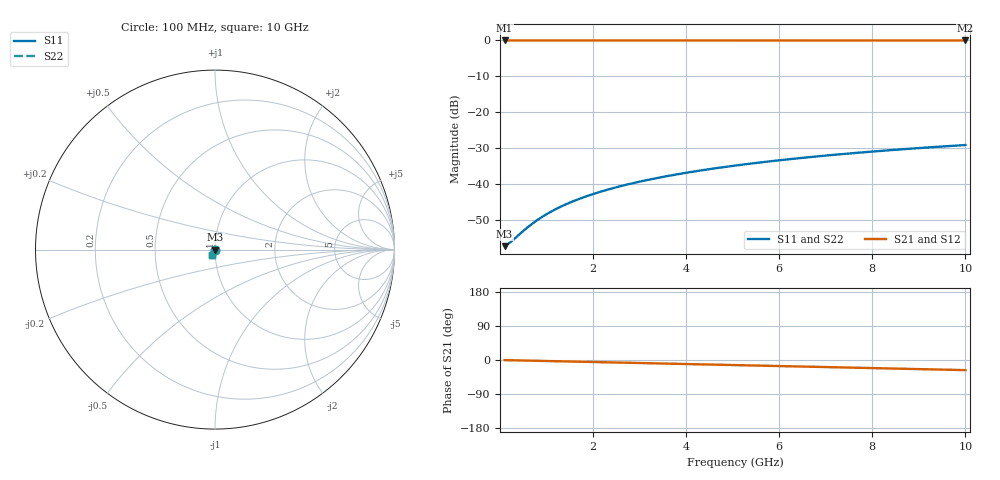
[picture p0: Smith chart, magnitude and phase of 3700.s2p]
# Hz S RI R 50.00
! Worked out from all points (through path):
!   100 points, 100 MHz to 10 GHz, reference 50 ohm
!   highest |S21| = -0.01 dB at 100 MHz (marker M1); lowest = 0.0 dB at 10 GHz (marker M2)
!   group delay of S21, straight-line fit = 7.42 ps
!   lowest |S11| = -57.3 dB at 100 MHz (marker M3), VSWR 1.00, Z = 50.1 - j0.0364 ohm
!   |S11| at or under -10 dB: start of sweep to end of sweep
!   |S22| runs from -57.3 to -29.1 dB; largest |S21 - S12| = 0
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1e8  0.00132 -0.000363  0.9987 -0.00462  0.9987 -0.00462  0.00132 -0.000363
2e8  0.00132 -0.000726  0.9986 -0.00924  0.9986 -0.00924  0.00132 -0.000726
6e8  0.00128 -0.00218  0.9982 -0.0277  0.9982 -0.0277  0.00128 -0.00218
7e8  0.00126 -0.00254  0.9981 -0.0323  0.9981 -0.0323  0.00126 -0.00254
9e8  0.00121 -0.00327  0.9977 -0.0416  0.9977 -0.0416  0.00121 -0.00327
1.1e9  0.00114 -0.00399  0.9973 -0.0508  0.9973 -0.0508  0.00114 -0.00399
1.3e9  0.00106 -0.00472  0.9968 -0.06  0.9968 -0.06  0.00106 -0.00472
1.5e9  0.000971 -0.00544  0.9962 -0.0693  0.9962 -0.0693  0.000971 -0.00544
1.8e9  0.000805 -0.00652  0.9951 -0.0831  0.9951 -0.0831  0.000805 -0.00652
2.1e9  0.000608 -0.00761  0.9938 -0.0969  0.9938 -0.0969  0.000608 -0.00761
2.5e9  0.000299 -0.00904  0.9918 -0.1153  0.9918 -0.1153  0.000299 -0.00904
2.9e9  -6.39e-05 -0.0105  0.9895 -0.1337  0.9895 -0.1337  -6.39e-05 -0.0105
3.4e9  -0.000593 -0.0122  0.9861 -0.1567  0.9861 -0.1567  -0.000593 -0.0122
3.8e9  -0.00107 -0.0136  0.9829 -0.175  0.9829 -0.175  -0.00107 -0.0136
4.2e9  -0.00161 -0.015  0.9795 -0.1932  0.9795 -0.1932  -0.00161 -0.015
4.6e9  -0.0022 -0.0164  0.9757 -0.2114  0.9757 -0.2114  -0.0022 -0.0164
5.1e9  -0.003 -0.018  0.9704 -0.2341  0.9704 -0.2341  -0.003 -0.018
5.9e9  -0.00445 -0.0206  0.9609 -0.2701  0.9609 -0.2701  -0.00445 -0.0206
6.7e9  -0.00608 -0.0231  0.9501 -0.3058  0.9501 -0.3058  -0.00608 -0.0231
7.5e9  -0.0079 -0.0255  0.9378 -0.3412  0.9378 -0.3412  -0.0079 -0.0255
8.4e9  -0.0102 -0.028  0.9225 -0.3804  0.9225 -0.3804  -0.0102 -0.028
1e10  -0.0146 -0.0318  0.891 -0.4487  0.891 -0.4487  -0.0146 -0.0318
